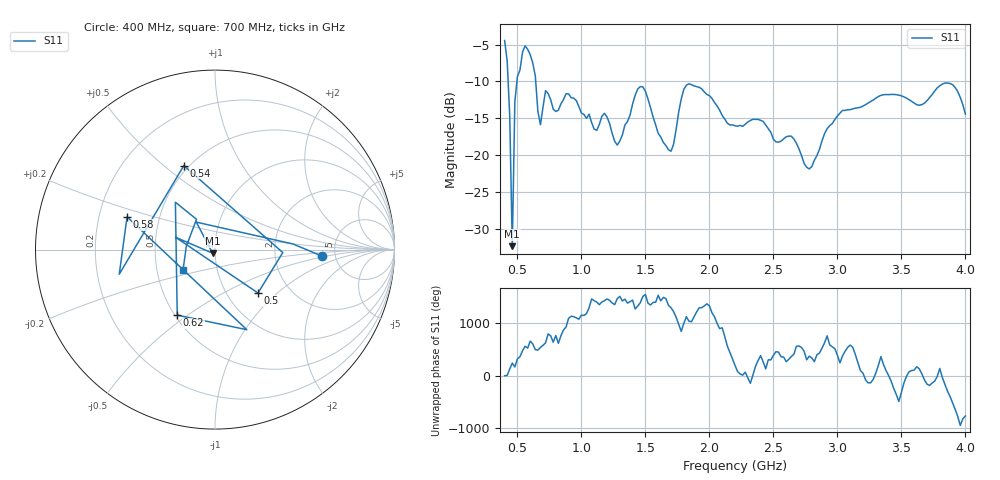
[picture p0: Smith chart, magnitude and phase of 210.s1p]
!Created with skrf (http://scikit-rf.org).
# Hz S RI R 50.0
!freq ReS11 ImS11
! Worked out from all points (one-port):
!   181 points, 400 MHz to 4 GHz, reference 50 ohm
!   lowest |S11| = -32.4 dB at 460 MHz (marker M1), VSWR 1.05, Z = 48.6 - j1.94 ohm
!   |S11| at or under -10 dB: 427.5 MHz to 496.2 MHz (68.75 MHz wide, 14.9 % of centre); 643 MHz to end of sweep
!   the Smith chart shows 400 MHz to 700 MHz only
!   S11 on the Smith chart (normalised r, x): 400 MHz: 3.94, -0.46; 500 MHz: 1.39, -0.76; 540 MHz: 0.47, +0.59; 580 MHz: 0.32, +0.16; 620 MHz: 0.51, -0.46; 700 MHz: 0.68, -0.16
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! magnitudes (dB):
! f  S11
! 400 MHz  -4.4
! 420 MHz  -7.2
! 440 MHz  -14.7
! 460 MHz  -32.4
! 480 MHz  -12.8
! 500 MHz  -9.4
! 540 MHz  -6.0
! 580 MHz  -5.6
! 620 MHz  -7.5
! 680 MHz  -15.9
! 700 MHz  -13.5
! 720 MHz  -11.3
! 800 MHz  -14.1
! 860 MHz  -12.5
! 1.12 GHz  -16.6
! 1.18 GHz  -14.3
! 1.3 GHz  -18.1
! 1.46 GHz  -10.7
! 1.68 GHz  -19.3
! 1.76 GHz  -14.2
! 1.84 GHz  -10.3
! 2.2 GHz  -16.0
! 2.66 GHz  -17.8
! 2.78 GHz  -21.9
! 3.1 GHz  -13.8
! 3.56 GHz  -12.5
! 3.88 GHz  -10.3
! 4 GHz  -14.4
